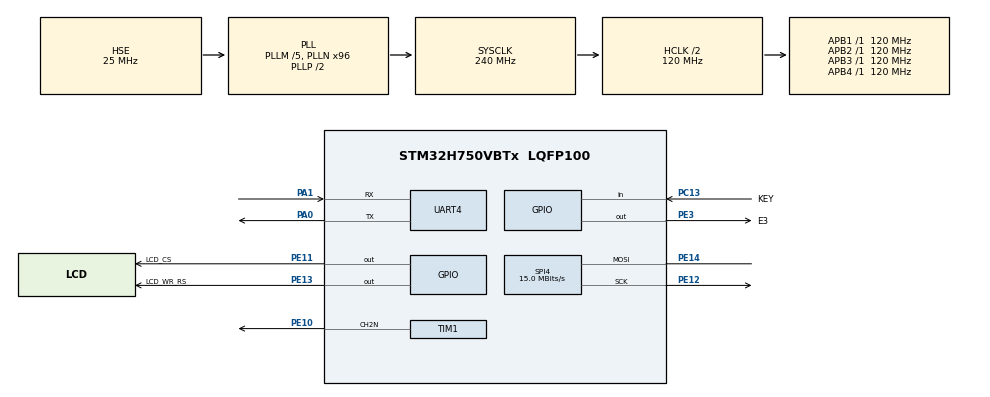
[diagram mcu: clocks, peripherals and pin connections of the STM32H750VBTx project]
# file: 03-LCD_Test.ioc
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FREERTOS.Tasks01=defaultTask,24,128,StartDefaultTask,Default,NULL,Dynamic,NULL,NULL
Mcu.Family=STM32H7
Mcu.Name=STM32H750VBTx
Mcu.Package=LQFP100
NVIC.PriorityGroup=NVIC_PRIORITYGROUP_4
NVIC.TIM3_IRQn=true\:15\:0\:false\:false\:true\:false\:false\:true\:true
NVIC.TimeBase=TIM3_IRQn
NVIC.TimeBaseIP=TIM3
PA0.Mode=Asynchronous
PA0.Signal=UART4_TX
PA1.Mode=Asynchronous
PA1.Signal=UART4_RX
PA13\ (JTMS/SWDIO).Mode=Serial_Wire
PA13\ (JTMS/SWDIO).Signal=DEBUG_JTMS-SWDIO
PA14\ (JTCK/SWCLK).Mode=Serial_Wire
PA14\ (JTCK/SWCLK).Signal=DEBUG_JTCK-SWCLK
PC13.GPIO_Label=KEY
PC13.GPIO_PuPd=GPIO_PULLDOWN
PC13.Signal=GPIO_Input
PC14-OSC32_IN\ (OSC32_IN).Mode=LSE-External-Oscillator
PC14-OSC32_IN\ (OSC32_IN).Signal=RCC_OSC32_IN
PC15-OSC32_OUT\ (OSC32_OUT).Mode=LSE-External-Oscillator
PC15-OSC32_OUT\ (OSC32_OUT).Signal=RCC_OSC32_OUT
PE10.Mode=PWM Generation2 CH2N
PE10.Signal=TIM1_CH2N
PE11.GPIO_Label=LCD_CS
PE11.GPIO_Speed=GPIO_SPEED_FREQ_VERY_HIGH
PE11.PinState=GPIO_PIN_SET
PE11.Signal=GPIO_Output
PE12.GPIO_Speed=GPIO_SPEED_FREQ_HIGH
PE12.Mode=Simplex_Bidirectional_Master
PE12.Signal=SPI4_SCK
PE13.GPIO_Label=LCD_WR_RS
PE13.GPIO_Speed=GPIO_SPEED_FREQ_VERY_HIGH
PE13.PinState=GPIO_PIN_SET
PE13.Signal=GPIO_Output
PE14.GPIO_Speed=GPIO_SPEED_FREQ_HIGH
PE14.Mode=Simplex_Bidirectional_Master
PE14.Signal=SPI4_MOSI
PE3.GPIO_Label=E3
PE3.PinState=GPIO_PIN_RESET
PE3.Signal=GPIO_Output
PH0-OSC_IN\ (PH0).Mode=HSE-External-Oscillator
PH0-OSC_IN\ (PH0).Signal=RCC_OSC_IN
PH1-OSC_OUT\ (PH1).Mode=HSE-External-Oscillator
PH1-OSC_OUT\ (PH1).Signal=RCC_OSC_OUT
ProjectManager.HeapSize=0x200
ProjectManager.StackSize=0x400
ProjectManager.TargetToolchain=MDK-ARM V5.27
RCC.ADCFreq_Value=83333333.33333333
RCC.APB1Freq_Value=120000000
RCC.APB2Freq_Value=120000000
RCC.APB3Freq_Value=120000000
RCC.APB4Freq_Value=120000000
RCC.CortexFreq_Value=240000000
RCC.DIVM1=5
RCC.DIVM2=6
RCC.DIVN1=96
RCC.DIVN2=40
RCC.DIVQ2=1
RCC.HCLKFreq_Value=120000000
RCC.HPRE=RCC_HCLK_DIV2
RCC.HSE_VALUE=25000000
RCC.LSE_Drive_Capability=RCC_LSEDRIVE_MEDIUMHIGH
RCC.PLLFRACN=0
RCC.PLLSourceVirtual=RCC_PLLSOURCE_HSE
RCC.PWR_Regulator_Voltage_Scale=PWR_REGULATOR_VOLTAGE_SCALE0
RCC.ProductRev=revV
RCC.RTCClockSelection=RCC_RTCCLKSOURCE_LSE
RCC.SYSCLKFreq_VALUE=240000000
RCC.SYSCLKSource=RCC_SYSCLKSOURCE_PLLCLK
RCC.USBFreq_Value=240000000
RTC.Hours=12
RTC.Month=RTC_MONTH_JUNE
RTC.Year=20
SPI4.BaudRatePrescaler=SPI_BAUDRATEPRESCALER_8
SPI4.CalculateBaudRate=15.0 MBits/s
SPI4.DataSize=SPI_DATASIZE_8BIT
SPI4.Direction=SPI_DIRECTION_1LINE
SPI4.Mode=SPI_MODE_MASTER
SPI4.VirtualType=VM_MASTER
TIM1.Channel-PWM\ Generation2\ CH2N=TIM_CHANNEL_2
TIM1.OCNPolarity_2=TIM_OCNPOLARITY_LOW
TIM1.Period=1000-1
TIM1.Prescaler=12-1
VP_FREERTOS_VS_CMSIS_V2.Mode=CMSIS_V2
VP_RTC_VS_RTC_Activate.Mode=RTC_Enabled
VP_RTC_VS_RTC_Calendar.Mode=RTC_Calendar
VP_SYS_VS_tim3.Mode=TIM3
board=custom

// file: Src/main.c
/* USER CODE BEGIN Header */
/**
  ******************************************************************************
  * @file           : main.c
  * @brief          : Main program body
  ******************************************************************************
  * @attention
  *
  * <h2><center>&copy; Copyright (c) 2020 STMicroelectronics.
  * All rights reserved.</center></h2>
  *
  * This software component is licensed by ST under BSD 3-Clause license,
  * the "License"; You may not use this file except in compliance with the
  * License. You may obtain a copy of the License at:
  *                        opensource.org/licenses/BSD-3-Clause
  *
  ******************************************************************************
  */
/* USER CODE END Header */
#include "main.h"
#include "cmsis_os.h"
#include "rtc.h"
#include "spi.h"
#include "tim.h"
#include "usart.h"
#include "gpio.h"

/* USER CODE BEGIN Includes */
#include "lcd.h"
/* USER CODE END Includes */

void SystemClock_Config(void);
void MX_FREERTOS_Init(void);

/* USER CODE BEGIN 0 */
static void MPU_Config(void)
{
  MPU_Region_InitTypeDef MPU_InitStruct = {0};

  /* Disables the MPU */
  HAL_MPU_Disable();

	/* Configure the MPU attributes for the QSPI 256MB without instruction access */
  MPU_InitStruct.Enable           = MPU_REGION_ENABLE;
  MPU_InitStruct.Number           = MPU_REGION_NUMBER0;
  MPU_InitStruct.BaseAddress      = QSPI_BASE;
  MPU_InitStruct.Size             = MPU_REGION_SIZE_256MB;
  MPU_InitStruct.AccessPermission = MPU_REGION_NO_ACCESS;
  MPU_InitStruct.IsBufferable     = MPU_ACCESS_NOT_BUFFERABLE;
  MPU_InitStruct.IsCacheable      = MPU_ACCESS_NOT_CACHEABLE;
  MPU_InitStruct.IsShareable      = MPU_ACCESS_NOT_SHAREABLE;
  MPU_InitStruct.DisableExec      = MPU_INSTRUCTION_ACCESS_DISABLE;
  MPU_InitStruct.TypeExtField     = MPU_TEX_LEVEL1;
  MPU_InitStruct.SubRegionDisable = 0x00;
  HAL_MPU_ConfigRegion(&MPU_InitStruct);

  /* Configure the MPU attributes for the QSPI 8MB (QSPI Flash Size) to Cacheable WT */
  MPU_InitStruct.Enable           = MPU_REGION_ENABLE;
  MPU_InitStruct.Number           = MPU_REGION_NUMBER1;
  MPU_InitStruct.BaseAddress      = QSPI_BASE;
  MPU_InitStruct.Size             = MPU_REGION_SIZE_8MB;
  MPU_InitStruct.AccessPermission = MPU_REGION_PRIV_RO;
  MPU_InitStruct.IsBufferable     = MPU_ACCESS_BUFFERABLE;
  MPU_InitStruct.IsCacheable      = MPU_ACCESS_CACHEABLE;
  MPU_InitStruct.IsShareable      = MPU_ACCESS_NOT_SHAREABLE;
  MPU_InitStruct.DisableExec      = MPU_INSTRUCTION_ACCESS_ENABLE;
  MPU_InitStruct.TypeExtField     = MPU_TEX_LEVEL1;
  MPU_InitStruct.SubRegionDisable = 0x00;
  HAL_MPU_ConfigRegion(&MPU_InitStruct);

  /* Enables the MPU */
  HAL_MPU_Enable(MPU_PRIVILEGED_DEFAULT);
}

static void CPU_CACHE_Enable(void)
{
  /* Enable I-Cache */
  SCB_EnableICache();

  /* Enable D-Cache */
  SCB_EnableDCache();
}

static void LED_Blink(uint32_t Hdelay,uint32_t Ldelay)
{
	HAL_GPIO_WritePin(E3_GPIO_Port,E3_Pin,GPIO_PIN_SET);
	HAL_Delay(Hdelay - 1);
	HAL_GPIO_WritePin(E3_GPIO_Port,E3_Pin,GPIO_PIN_RESET);
	HAL_Delay(Ldelay-1);
}

/**
  * @brief  Get the current time and date.
  * @param
  * @retval None
  */
static void RTC_CalendarShow(RTC_DateTypeDef *sdatestructureget,RTC_TimeTypeDef *stimestructureget)
{
  /* 必须同时获取时间和日期 不然会导致下次RTC不能读取 */
  /* Both time and date must be obtained or RTC cannot be read next time */
  /* Get the RTC current Time */
  HAL_RTC_GetTime(&hrtc, stimestructureget, RTC_FORMAT_BIN);
  /* Get the RTC current Date */
  HAL_RTC_GetDate(&hrtc, sdatestructureget, RTC_FORMAT_BIN);
}

/* USER CODE END 0 */

int main(void)
{
  /* USER CODE BEGIN 1 */

  #ifdef W25Qxx
    SCB->VTOR = QSPI_BASE;
  #endif
  MPU_Config();
  CPU_CACHE_Enable();

  /* USER CODE END 1 */

  /* MCU Configuration--------------------------------------------------------*/

  /* Reset of all peripherals, Initializes the Flash interface and the Systick. */
  HAL_Init();

  /* Configure the system clock */
  SystemClock_Config();

  /* Initialize all configured peripherals */
  MX_GPIO_Init();
  MX_RTC_Init();
  MX_SPI4_Init();
  MX_TIM1_Init();
  MX_UART4_Init();
  /* USER CODE BEGIN 2 */
//	HAL_TIMEx_PWMN_Start(&htim1,TIM_CHANNEL_2);
//	__HAL_TIM_SetCompare(&htim1,TIM_CHANNEL_2,10);
	LCD_Test();
  /* USER CODE END 2 */

  /* Init scheduler */
  osKernelInitialize();

  /* Call init function for freertos objects (in freertos.c) */
  MX_FREERTOS_Init();

  /* Start scheduler */
  osKernelStart();

  /* We should never get here as control is now taken by the scheduler */
  /* Infinite loop */
  /* USER CODE BEGIN WHILE */
	uint8_t text[20];
	RTC_DateTypeDef sdatestructureget;
	RTC_TimeTypeDef stimestructureget;
  while (1)
  {
    /* USER CODE END WHILE */

    /* USER CODE BEGIN 3 */
		RTC_CalendarShow(&sdatestructureget,&stimestructureget);

		if (stimestructureget.Seconds % 2 == 1)
			sprintf((char *)&text,"Time: %02d:%02d", stimestructureget.Hours, stimestructureget.Minutes);
		else
			sprintf((char *)&text,"Time: %02d %02d", stimestructureget.Hours, stimestructureget.Minutes);
		LCD_ShowString(4, 58, 160, 16, 16, text);

		sprintf((char *)&text,"Tick: %d ms",HAL_GetTick());
		LCD_ShowString(4, 74, 160, 16, 16,text);

		LED_Blink(3,500);

  }
  /* USER CODE END 3 */
}

void SystemClock_Config(void)
{
  RCC_OscInitTypeDef RCC_OscInitStruct = {0};
  RCC_ClkInitTypeDef RCC_ClkInitStruct = {0};

  /** Supply configuration update enable
  */
  HAL_PWREx_ConfigSupply(PWR_LDO_SUPPLY);

  /** Configure the main internal regulator output voltage
  */
  __HAL_PWR_VOLTAGESCALING_CONFIG(PWR_REGULATOR_VOLTAGE_SCALE1);

  while(!__HAL_PWR_GET_FLAG(PWR_FLAG_VOSRDY)) {}

  __HAL_RCC_SYSCFG_CLK_ENABLE();
  __HAL_PWR_VOLTAGESCALING_CONFIG(PWR_REGULATOR_VOLTAGE_SCALE0);

  while(!__HAL_PWR_GET_FLAG(PWR_FLAG_VOSRDY)) {}

  /** Configure LSE Drive Capability
  */
  HAL_PWR_EnableBkUpAccess();
  __HAL_RCC_LSEDRIVE_CONFIG(RCC_LSEDRIVE_MEDIUMHIGH);

  /** Initializes the RCC Oscillators according to the specified parameters
  * in the RCC_OscInitTypeDef structure.
  */
  RCC_OscInitStruct.OscillatorType = RCC_OSCILLATORTYPE_HSE|RCC_OSCILLATORTYPE_LSE;
  RCC_OscInitStruct.HSEState = RCC_HSE_ON;
  RCC_OscInitStruct.LSEState = RCC_LSE_ON;
  RCC_OscInitStruct.PLL.PLLState = RCC_PLL_ON;
  RCC_OscInitStruct.PLL.PLLSource = RCC_PLLSOURCE_HSE;
  RCC_OscInitStruct.PLL.PLLM = 5;
  RCC_OscInitStruct.PLL.PLLN = 96;
  RCC_OscInitStruct.PLL.PLLP = 2;
  RCC_OscInitStruct.PLL.PLLQ = 2;
  RCC_OscInitStruct.PLL.PLLR = 2;
  RCC_OscInitStruct.PLL.PLLRGE = RCC_PLL1VCIRANGE_2;
  RCC_OscInitStruct.PLL.PLLVCOSEL = RCC_PLL1VCOWIDE;
  RCC_OscInitStruct.PLL.PLLFRACN = 0;
  if (HAL_RCC_OscConfig(&RCC_OscInitStruct) != HAL_OK)
  {
    Error_Handler();
  }

  /** Initializes the CPU, AHB and APB buses clocks
  */
  RCC_ClkInitStruct.ClockType = RCC_CLOCKTYPE_HCLK|RCC_CLOCKTYPE_SYSCLK
                              |RCC_CLOCKTYPE_PCLK1|RCC_CLOCKTYPE_PCLK2
                              |RCC_CLOCKTYPE_D3PCLK1|RCC_CLOCKTYPE_D1PCLK1;
  RCC_ClkInitStruct.SYSCLKSource = RCC_SYSCLKSOURCE_PLLCLK;
  RCC_ClkInitStruct.SYSCLKDivider = RCC_SYSCLK_DIV1;
  RCC_ClkInitStruct.AHBCLKDivider = RCC_HCLK_DIV2;
  RCC_ClkInitStruct.APB3CLKDivider = RCC_APB3_DIV1;
  RCC_ClkInitStruct.APB1CLKDivider = RCC_APB1_DIV1;
  RCC_ClkInitStruct.APB2CLKDivider = RCC_APB2_DIV1;
  RCC_ClkInitStruct.APB4CLKDivider = RCC_APB4_DIV1;

  if (HAL_RCC_ClockConfig(&RCC_ClkInitStruct, FLASH_LATENCY_1) != HAL_OK)
  {
    Error_Handler();
  }
}

void HAL_TIM_PeriodElapsedCallback(TIM_HandleTypeDef *htim)
{
  if (htim->Instance == TIM3) {
    HAL_IncTick();
  }
}

void Error_Handler(void)
{
  /* USER CODE BEGIN Error_Handler_Debug */
  /* User can add his own implementation to report the HAL error return state */
  LED_Blink(500,500);
  /* USER CODE END Error_Handler_Debug */
}
